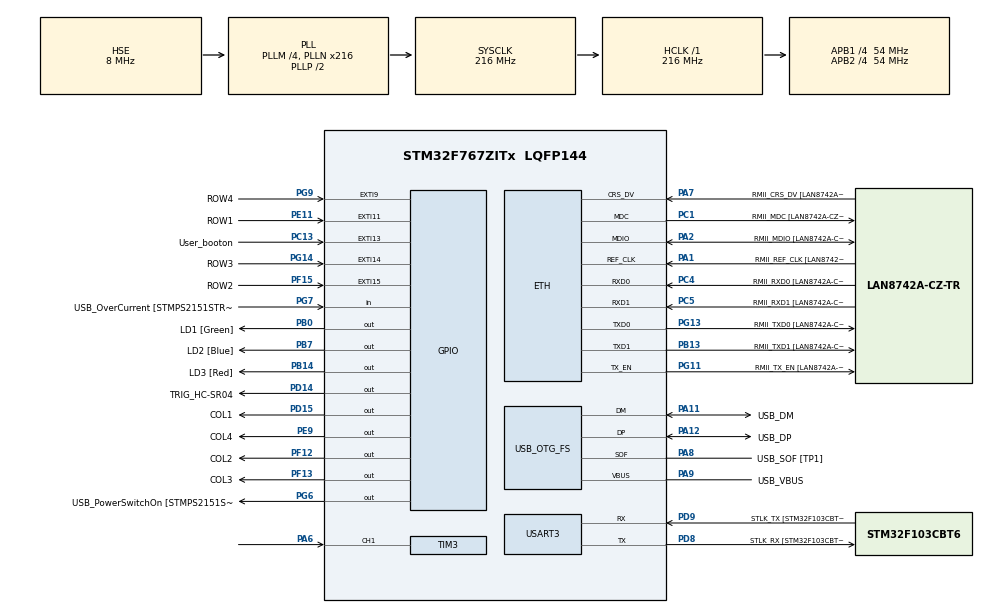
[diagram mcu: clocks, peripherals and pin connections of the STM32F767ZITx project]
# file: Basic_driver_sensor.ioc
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ADC1.Channel-0\#ChannelRegularConversion=ADC_CHANNEL_TEMPSENSOR
ADC1.ClockPrescaler=ADC_CLOCK_SYNC_PCLK_DIV4
ADC1.ContinuousConvMode=ENABLE
ADC1.EOCSelection=ADC_EOC_SINGLE_CONV
ADC1.NbrOfConversion=1
ADC1.NbrOfConversionFlag=1
ADC1.Rank-0\#ChannelRegularConversion=1
ADC1.SamplingTime-0\#ChannelRegularConversion=ADC_SAMPLETIME_480CYCLES
ADC1.master=1
ETH.MediaInterface=ETH_MEDIA_INTERFACE_RMII
ETH.PHY_Name=LAN8742A_PHY_ADDRESS
ETH.PHY_Value=0
ETH.PhyAddress=0
Mcu.Family=STM32F7
Mcu.Name=STM32F767ZITx
Mcu.Package=LQFP144
NVIC.ADC_IRQn=true\:0\:0\:false\:false\:true\:true\:true
NVIC.EXTI15_10_IRQn=true\:0\:0\:false\:false\:true\:true\:true
NVIC.EXTI9_5_IRQn=true\:0\:0\:false\:false\:true\:true\:true
NVIC.PriorityGroup=NVIC_PRIORITYGROUP_4
NVIC.TIM3_IRQn=true\:0\:0\:false\:false\:true\:true\:true
NVIC.TIM6_DAC_IRQn=true\:0\:0\:false\:false\:true\:true\:true
NVIC.TIM7_IRQn=true\:0\:0\:false\:false\:true\:true\:true
PA1.GPIO_Label=RMII_REF_CLK [LAN8742A-CZ-TR_REFCLK0]
PA1.Mode=RMII
PA1.Signal=ETH_REF_CLK
PA10.GPIO_Label=USB_ID
PA10.Signal=USB_OTG_FS_ID
PA11.GPIO_Label=USB_DM
PA11.Mode=Device_Only
PA11.Signal=USB_OTG_FS_DM
PA12.GPIO_Label=USB_DP
PA12.Mode=Device_Only
PA12.Signal=USB_OTG_FS_DP
PA13.GPIO_Label=TMS
PA13.Mode=Serial_Wire
PA13.Signal=SYS_JTMS-SWDIO
PA14.GPIO_Label=TCK
PA14.Mode=Serial_Wire
PA14.Signal=SYS_JTCK-SWCLK
PA2.GPIO_Label=RMII_MDIO [LAN8742A-CZ-TR_MDIO]
PA2.Mode=RMII
PA2.Signal=ETH_MDIO
PA6.Signal=S_TIM3_CH1
PA7.GPIO_Label=RMII_CRS_DV [LAN8742A-CZ-TR_CRS_DV]
PA7.Mode=RMII
PA7.Signal=ETH_CRS_DV
PA8.GPIO_Label=USB_SOF [TP1]
PA8.Mode=Activate_SOF_FS
PA8.Signal=USB_OTG_FS_SOF
PA9.GPIO_Label=USB_VBUS
PA9.Mode=Activate_VBUS
PA9.Signal=USB_OTG_FS_VBUS
PB0.GPIO_Label=LD1 [Green]
PB0.Signal=GPIO_Output
PB13.GPIO_Label=RMII_TXD1 [LAN8742A-CZ-TR_TXD1]
PB13.Mode=RMII
PB13.Signal=ETH_TXD1
PB14.GPIO_Label=LD3 [Red]
PB14.Signal=GPIO_Output
PB3.GPIO_Label=SWO
PB3.Signal=SYS_JTDO-SWO
PB7.GPIO_Label=LD2 [Blue]
PB7.Signal=GPIO_Output
PC1.GPIO_Label=RMII_MDC [LAN8742A-CZ-TR_MDC]
PC1.Mode=RMII
PC1.Signal=ETH_MDC
PC13.GPIO_Label=User_booton
PC13.Signal=GPXTI13
PC14/OSC32_IN.Mode=LSE-External-Oscillator
PC14/OSC32_IN.Signal=RCC_OSC32_IN
PC15/OSC32_OUT.Mode=LSE-External-Oscillator
PC15/OSC32_OUT.Signal=RCC_OSC32_OUT
PC4.GPIO_Label=RMII_RXD0 [LAN8742A-CZ-TR_RXD0]
PC4.Mode=RMII
PC4.Signal=ETH_RXD0
PC5.GPIO_Label=RMII_RXD1 [LAN8742A-CZ-TR_RXD1]
PC5.Mode=RMII
PC5.Signal=ETH_RXD1
PD14.GPIO_Label=TRIG_HC-SR04
PD14.Signal=GPIO_Output
PD15.GPIO_Label=COL1
PD15.Signal=GPIO_Output
PD8.GPIO_Label=STLK_RX [STM32F103CBT6_PA3]
PD8.Mode=Asynchronous
PD8.Signal=USART3_TX
PD9.GPIO_Label=STLK_TX [STM32F103CBT6_PA2]
PD9.Mode=Asynchronous
PD9.Signal=USART3_RX
PE11.GPIO_Label=ROW1
PE11.GPIO_PuPd=GPIO_PULLDOWN
PE11.Signal=GPXTI11
PE9.GPIO_Label=COL4
PE9.Signal=GPIO_Output
PF12.GPIO_Label=COL2
PF12.Signal=GPIO_Output
PF13.GPIO_Label=COL3
PF13.Signal=GPIO_Output
PF15.GPIO_Label=ROW2
PF15.GPIO_PuPd=GPIO_PULLDOWN
PF15.Signal=GPXTI15
PG11.GPIO_Label=RMII_TX_EN [LAN8742A-CZ-TR_TXEN]
PG11.Mode=RMII
PG11.Signal=ETH_TX_EN
PG13.GPIO_Label=RMII_TXD0 [LAN8742A-CZ-TR_TXD0]
PG13.Mode=RMII
PG13.Signal=ETH_TXD0
PG14.GPIO_Label=ROW3
PG14.GPIO_PuPd=GPIO_PULLDOWN
PG14.Signal=GPXTI14
PG6.GPIO_Label=USB_PowerSwitchOn [STMPS2151STR_EN]
PG6.Signal=GPIO_Output
PG7.GPIO_Label=USB_OverCurrent [STMPS2151STR_FAULT]
PG7.Signal=GPIO_Input
PG9.GPIO_Label=ROW4
PG9.GPIO_PuPd=GPIO_PULLDOWN
PG9.Signal=GPXTI9
PH0/OSC_IN.GPIO_Label=MCO [STM32F103CBT6_PA8]
PH0/OSC_IN.Mode=HSE-External-Clock-Source
PH0/OSC_IN.Signal=RCC_OSC_IN
PH1/OSC_OUT.Mode=HSE-External-Clock-Source
PH1/OSC_OUT.Signal=RCC_OSC_OUT
ProjectManager.HeapSize=0x200
ProjectManager.StackSize=0x400
ProjectManager.TargetToolchain=STM32CubeIDE
RCC.48MHZClocksFreq_Value=24000000
RCC.AHBFreq_Value=216000000
RCC.APB1CLKDivider=RCC_HCLK_DIV4
RCC.APB1Freq_Value=54000000
RCC.APB1TimFreq_Value=108000000
RCC.APB2CLKDivider=RCC_HCLK_DIV4
RCC.APB2Freq_Value=54000000
RCC.APB2TimFreq_Value=108000000
RCC.CortexFreq_Value=216000000
RCC.HCLKFreq_Value=216000000
RCC.HSE_VALUE=8000000
RCC.HSI_VALUE=16000000
RCC.PLLM=4
RCC.PLLMUL=RCC_PLL_MUL9
RCC.PLLN=216
RCC.PLLQ=9
RCC.PRESCALERUSB=RCC_USBCLKSOURCE_PLL_DIV1_5
RCC.SYSCLKFreq_VALUE=216000000
RCC.SYSCLKSource=RCC_SYSCLKSOURCE_PLLCLK
RCC.SYSCLKSourceVirtual=RCC_SYSCLKSOURCE_PLLCLK
RCC.USBFreq_Value=48000000
RCC.VCOOutputFreq_Value=432000000
SH.S_TIM3_CH1.0=TIM3_CH1,Input_Capture1_from_TI1
TIM3.Channel-Input_Capture1_from_TI1=TIM_CHANNEL_1
TIM3.ICPolarity_CH1=TIM_INPUTCHANNELPOLARITY_BOTHEDGE
TIM3.Prescaler=58
TIM6.Prescaler=40
TIM7.Period=1
TIM7.Prescaler=539
USART3.VirtualMode-Asynchronous=VM_ASYNC
USB_OTG_FS.VirtualMode=Device_Only
VP_ADC1_TempSens_Input.Mode=IN-TempSens
VP_TIM6_VS_ClockSourceINT.Mode=Enable_Timer
VP_TIM7_VS_ClockSourceINT.Mode=Enable_Timer
board=NUCLEO-F767ZI

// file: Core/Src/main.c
/* USER CODE BEGIN Header */
/**
  ******************************************************************************
  * @file           : main.c
  * @brief          : Main program body
  ******************************************************************************
  * @attention
  *
  * <h2><center>&copy; Copyright (c) 2020 STMicroelectronics.
  * All rights reserved.</center></h2>
  *
  * This software component is licensed by ST under BSD 3-Clause license,
  * the "License"; You may not use this file except in compliance with the
  * License. You may obtain a copy of the License at:
  *                        opensource.org/licenses/BSD-3-Clause
  *
  ******************************************************************************
  */
/* USER CODE END Header */
#include "main.h"
#include "adc.h"
#include "eth.h"
#include "tim.h"
#include "usart.h"
#include "usb_otg.h"
#include "gpio.h"

/* USER CODE BEGIN Includes */
#include <stdio.h>
#include <stdlib.h>
#include <math.h>
#include <string.h>
#include <stdbool.h>
#include "keypad.h"
#include "driver_HC_SR04.h"
#include "driver_temperature.h"
/* USER CODE END Includes */

/* USER CODE BEGIN PV */

int key_pad[NUM_ROWS][NUM_COLS] = {
	{1,2,3,4},
	{5,6,7,8},
	{9,10,11,12},
	{13,14,15,16}
};
TipoTeclado teclado;
char str_name[100];
int cuenta = 0;
bool FLAG_ENVIO = false;
uint32_t captures[2];
uint8_t Is_First_Captured = 0;
uint16_t diffCapture = 0;
volatile uint8_t captureDone = 0;
double distanciam = 0;
float temperatura = 0;
/* USER CODE END PV */

void SystemClock_Config(void);
/* USER CODE BEGIN PFP */
void enviar();
/* USER CODE END PFP */

int main(void)
{

  /* MCU Configuration--------------------------------------------------------*/

  /* Reset of all peripherals, Initializes the Flash interface and the Systick. */
  HAL_Init();

  /* Configure the system clock */
  SystemClock_Config();

  /* Initialize all configured peripherals */
  MX_GPIO_Init();
  MX_ETH_Init();
  MX_USART3_UART_Init();
  MX_USB_OTG_FS_PCD_Init();
  MX_TIM6_Init();
  MX_TIM7_Init();
  MX_TIM3_Init();
  MX_ADC1_Init();
  /* USER CODE BEGIN 2 */

 // HAL_TIM_Base_Start_IT(&htim6);
 // HAL_GPIO_TogglePin(LD3_GPIO_Port, LD3_Pin);
  /* USER CODE END 2 */

  /* Infinite loop */
  while (1)
  {

    /* USER CODE BEGIN 3 */
	  if (captureDone != 0) {
		  captureDone = 0;
		  distanciam = HC_SR04_get_distance(diffCapture);
		  sprintf(str_name, "%s\t%f","Distancia en m =",distanciam);

	}

//	  if(key_press(&teclado)){
//		key_process(key_pad[teclado.teclaPulsada.row][teclado.teclaPulsada.col])
//		sprintf(str_name, "%s\t%d","letra =",key_pad[teclado.teclaPulsada.row][teclado.teclaPulsada.col]);
//		reset_key_press(&teclado);
//	  }
	  if (FLAG_ENVIO == true){
		  enviar();
		  FLAG_ENVIO = false;
	  }
  }
  /* USER CODE END 3 */
}

void SystemClock_Config(void)
{
  RCC_OscInitTypeDef RCC_OscInitStruct = {0};
  RCC_ClkInitTypeDef RCC_ClkInitStruct = {0};
  RCC_PeriphCLKInitTypeDef PeriphClkInitStruct = {0};

  /** Configure LSE Drive Capability
  */
  HAL_PWR_EnableBkUpAccess();
  /** Configure the main internal regulator output voltage
  */
  __HAL_RCC_PWR_CLK_ENABLE();
  __HAL_PWR_VOLTAGESCALING_CONFIG(PWR_REGULATOR_VOLTAGE_SCALE1);
  /** Initializes the RCC Oscillators according to the specified parameters
  * in the RCC_OscInitTypeDef structure.
  */
  RCC_OscInitStruct.OscillatorType = RCC_OSCILLATORTYPE_HSE;
  RCC_OscInitStruct.HSEState = RCC_HSE_BYPASS;
  RCC_OscInitStruct.PLL.PLLState = RCC_PLL_ON;
  RCC_OscInitStruct.PLL.PLLSource = RCC_PLLSOURCE_HSE;
  RCC_OscInitStruct.PLL.PLLM = 4;
  RCC_OscInitStruct.PLL.PLLN = 216;
  RCC_OscInitStruct.PLL.PLLP = RCC_PLLP_DIV2;
  RCC_OscInitStruct.PLL.PLLQ = 9;
  if (HAL_RCC_OscConfig(&RCC_OscInitStruct) != HAL_OK)
  {
    Error_Handler();
  }
  /** Activate the Over-Drive mode
  */
  if (HAL_PWREx_EnableOverDrive() != HAL_OK)
  {
    Error_Handler();
  }
  /** Initializes the CPU, AHB and APB buses clocks
  */
  RCC_ClkInitStruct.ClockType = RCC_CLOCKTYPE_HCLK|RCC_CLOCKTYPE_SYSCLK
                              |RCC_CLOCKTYPE_PCLK1|RCC_CLOCKTYPE_PCLK2;
  RCC_ClkInitStruct.SYSCLKSource = RCC_SYSCLKSOURCE_PLLCLK;
  RCC_ClkInitStruct.AHBCLKDivider = RCC_SYSCLK_DIV1;
  RCC_ClkInitStruct.APB1CLKDivider = RCC_HCLK_DIV4;
  RCC_ClkInitStruct.APB2CLKDivider = RCC_HCLK_DIV4;

  if (HAL_RCC_ClockConfig(&RCC_ClkInitStruct, FLASH_LATENCY_7) != HAL_OK)
  {
    Error_Handler();
  }
  PeriphClkInitStruct.PeriphClockSelection = RCC_PERIPHCLK_USART3|RCC_PERIPHCLK_CLK48;
  PeriphClkInitStruct.Usart3ClockSelection = RCC_USART3CLKSOURCE_PCLK1;
  PeriphClkInitStruct.Clk48ClockSelection = RCC_CLK48SOURCE_PLL;
  if (HAL_RCCEx_PeriphCLKConfig(&PeriphClkInitStruct) != HAL_OK)
  {
    Error_Handler();
  }
}

/* USER CODE BEGIN 4 */
void enviar(){

	sprintf(str_name, "%s#", str_name);
	HAL_UART_Transmit(&huart3, (uint8_t*) str_name, strlen(str_name),
			HAL_MAX_DELAY);

}

void HAL_GPIO_EXTI_Callback(uint16_t GPIO_Pin) {
	if(GPIO_Pin == User_booton_Pin){
		//HC_SR04_Start_trigger();
		temperatura = get_temperature_value();
		sprintf(str_name, "%s\t%f","Temperatura PCB =",temperatura);
		FLAG_ENVIO = true;
	}else if(GPIO_Pin == ROW1_Pin){
		teclado.teclaPulsada.row = ROW_1;

	}else if(GPIO_Pin == ROW2_Pin){
		teclado.teclaPulsada.row = ROW_2;

	}else if(GPIO_Pin == ROW3_Pin){
		teclado.teclaPulsada.row = ROW_3;

	}else if(GPIO_Pin == ROW4_Pin){
		teclado.teclaPulsada.row = ROW_4;

	}
}
void HAL_TIM_IC_CaptureCallback(TIM_HandleTypeDef *htim){
	if (htim->Channel == HAL_TIM_ACTIVE_CHANNEL_1)  // if the interrupt source is channel1
	{
		if (Is_First_Captured==0) // if the first value is not captured
		{
			captures[0] = HAL_TIM_ReadCapturedValue(htim, TIM_CHANNEL_1); // read the first value
			Is_First_Captured = 1;  // set the first captured as true
			// Now change the polarity to falling edge, only if don't have both capture
			//__HAL_TIM_SET_CAPTUREPOLARITY(htim, TIM_CHANNEL_2, TIM_INPUTCHANNELPOLARITY_FALLING);
		}

		else if (Is_First_Captured==1)   // if the first is already captured
		{
			captures[1] = HAL_TIM_ReadCapturedValue(htim, TIM_CHANNEL_1);  // read second value
			__HAL_TIM_SET_COUNTER(htim, 0);  // reset the counter

			if (captures[1] > captures[0])
			{
				diffCapture = captures[1]-captures[0];
			}
			else
			{
				diffCapture = (htim3.Instance->ARR - captures[0]) + captures[1];
			}

			Is_First_Captured = 0; // set it back to false
			HAL_TIM_IC_Stop_IT(&htim3, TIM_CHANNEL_1);
			captureDone = 1;

			FLAG_ENVIO = true;
			// set polarity to rising edge, only if don't have both capture
			//__HAL_TIM_SET_CAPTUREPOLARITY(htim, TIM_CHANNEL_2, TIM_INPUTCHANNELPOLARITY_RISING);

		}
	}
}
/**
 * @brief  Period elapsed callback in non-blocking mode
 * @param  htim TIM handle
 * @retval None
 */
void HAL_TIM_PeriodElapsedCallback(TIM_HandleTypeDef *htim){

	if (htim->Instance==TIM6) {
		cuenta++;
		if (cuenta == 40) {
			 HAL_GPIO_TogglePin(LD3_GPIO_Port, LD3_Pin);
			 HAL_GPIO_TogglePin(LD1_GPIO_Port, LD1_Pin);
		} else if (cuenta == 80) {
			 HAL_GPIO_TogglePin(LD1_GPIO_Port, LD1_Pin);
			 HAL_GPIO_TogglePin(LD2_GPIO_Port, LD2_Pin);

		} else if(cuenta == 120){
			 HAL_GPIO_TogglePin(LD2_GPIO_Port, LD2_Pin);
			 HAL_GPIO_TogglePin(LD3_GPIO_Port, LD3_Pin);
			cuenta = 0;

		}
		next_col(&teclado);

	}else if (htim->Instance==TIM7){
		HC_SR04_Stop_trigger();

	}

}
/* USER CODE END 4 */

void Error_Handler(void)
{
}

/************************ (C) COPYRIGHT STMicroelectronics *****END OF FILE****/
